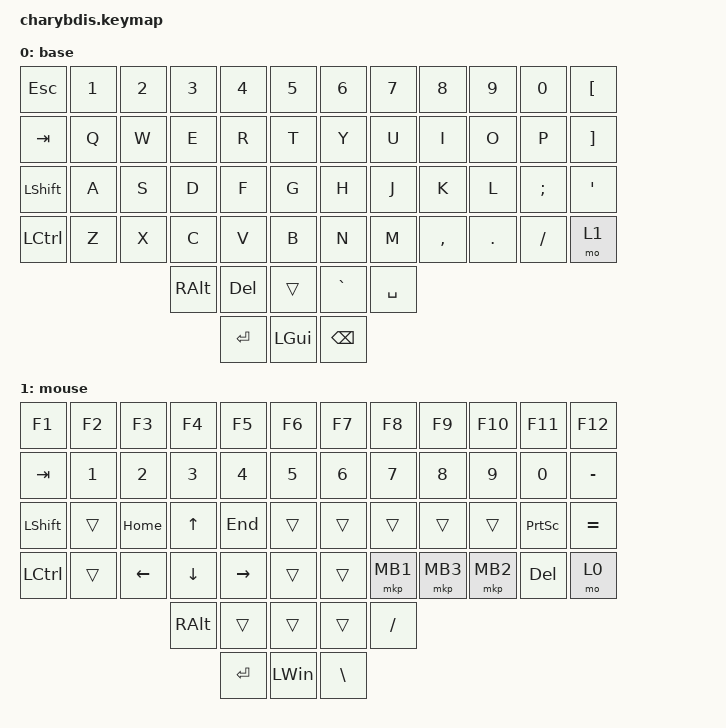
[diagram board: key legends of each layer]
#include <dt-bindings/zmk/mouse.h>
#include <behaviors.dtsi>
#include <dt-bindings/zmk/backlight.h>
#include <dt-bindings/zmk/keys.h>
#include <dt-bindings/zmk/pointing.h>

&lt {
    tapping-term-ms = <200>;
    flavor = "balanced";
    quick-tap-ms = <150>;
};

/ {
    combos {
        compatible = "zmk,combos";

        Backlight_Toggle {
            bindings = <&bl BL_TOG>;
            key-positions = <0 1>;
        };
    };

    keymap {
        compatible = "zmk,keymap";

        base {
            bindings = <
&kp ESC    &kp N1  &kp N2  &kp N3         &kp N4      &kp N5      &kp N6     &kp N7     &kp N8     &kp N9   &kp N0    &kp LBKT
&kp TAB    &kp Q   &kp W   &kp E          &kp R       &kp T       &kp Y      &kp U      &kp I      &kp O    &kp P     &kp RBKT
&kp LSHFT  &kp A   &kp S   &kp D          &kp F       &kp G       &kp H      &kp J      &kp K      &kp L    &kp SEMI  &kp SQT
&kp LCTRL  &kp Z   &kp X   &kp C          &kp V       &kp B       &kp N      &kp M      &kp COMMA  &kp DOT  &kp FSLH  &mo 1
                           &kp RIGHT_ALT  &kp DELETE  &trans      &kp GRAVE  &kp SPACE
                                          &kp ENTER   &kp LGUI    &kp BSPC
            >;
        };

        mouse {
            bindings = <
&kp F1            &kp F2  &kp F3    &kp F4         &kp F5     &kp F6          &kp F7         &kp F8     &kp F9    &kp F10   &kp F11          &kp F12
&kp TAB           &kp N1  &kp N2    &kp N3         &kp N4     &kp N5          &kp N6         &kp N7     &kp N8    &kp N9    &kp N0           &kp MINUS
&kp LEFT_SHIFT    &trans  &kp HOME  &kp UP_ARROW   &kp END    &trans          &trans         &trans     &trans    &trans    &kp PRINTSCREEN  &kp EQUAL
&kp LEFT_CONTROL  &trans  &kp LEFT  &kp DOWN       &kp RIGHT  &trans          &trans         &mkp MB1   &mkp MB3  &mkp MB2  &kp DELETE       &mo 0
                                    &kp RIGHT_ALT  &trans     &trans          &trans         &kp SLASH
                                                   &kp ENTER  &kp LEFT_WIN    &kp BACKSLASH
            >;
        };

        /* layer_2 {
            bindings = <
&none  &none   &none    &none   &none         &none         &kp N1         &none         &none     &none  &none   &to 0
&none  &none   &none    &none   &none         &none         &none         &none          &rgb_ug RGB_BRD &rgb_ug RGB_BRI  &rgb_ug RGB_EFF   &rgb_ug RGB_TOG
&none  &none   &none    &none   &none         &none         &none         &mkp LCLK     &mkp RCLK  &none  &none   &none
&none  &none   &none    &none   &bt BT_NXT  &bt BT_CLR    &none         &none         &none     &none  &none   &none
                                   &none         &none         &none         &none         &none
                                                 &none         &none         &none
            >;
          trackball-bindings = <&tsl>;
            
        };

       Mouse {
            bindings = <
&none        &none         &none         &none         &none      &none         &none       &none      &none         &none         &none         &none
&none        &bt BT_SEL 0  &bt BT_SEL 1  &bt BT_SEL 3  &none      &bt BT_CLR    &bt BT_CLR  &none      &bt BT_SEL 2  &bt BT_SEL 1  &bt BT_SEL 0  &none
&none        &trans        &trans        &mkp MCLK     &trans     &none         &none       &trans     &mkp MCLK     &trans        &trans        &none
&bootloader  &trans        &mkp RCLK     &mo 4         &mkp LCLK  &mo 5         &mo 5       &mkp LCLK  &mo 4         &mkp RCLK     &trans        &bootloader
                                         &mo 5         &mkp LCLK  &mkp RCLK     &mkp RCLK   &mkp LCLK
                                                       &none      &trans        &trans
            >;

            
        };

        layer_4 {
            bindings = <
&trans  &trans  &trans     &trans     &trans     &trans       &trans     &trans     &trans     &trans     &trans  &trans
&trans  &trans  &trans     &trans     &trans     &trans       &trans     &trans     &trans     &trans     &trans  &trans
&trans  &trans  &trans     &mkp MCLK  &trans     &trans       &trans     &trans     &mkp MCLK  &trans     &trans  &trans
&trans  &trans  &mkp RCLK  &trans     &mkp LCLK  &trans       &trans     &mkp LCLK  &trans     &mkp RCLK  &trans  &trans
                           &trans     &mkp LCLK  &mkp RCLK    &mkp RCLK  &mkp LCLK
                                      &trans     &trans       &trans
            >;
                
                
                trackball-bindings = <&tsl>;
        };

        layer_5 {
            bindings = <
&trans  &trans  &trans     &trans     &trans     &trans       &trans     &trans     &trans     &trans     &trans  &trans
&trans  &trans  &trans     &trans     &trans     &trans       &trans     &trans     &trans     &trans     &trans  &trans
&trans  &trans  &trans     &mkp MCLK  &trans     &trans       &trans     &trans     &mkp MCLK  &trans     &trans  &trans
&trans  &trans  &mkp RCLK  &trans     &mkp LCLK  &trans       &trans     &mkp LCLK  &trans     &mkp RCLK  &trans  &trans
                           &trans     &mkp LCLK  &mkp RCLK    &mkp RCLK  &mkp LCLK
                                      &trans     &trans       &trans
            >;
                trackball-bindings = <&tmv_fine>;
                
        };*/
    };
};
